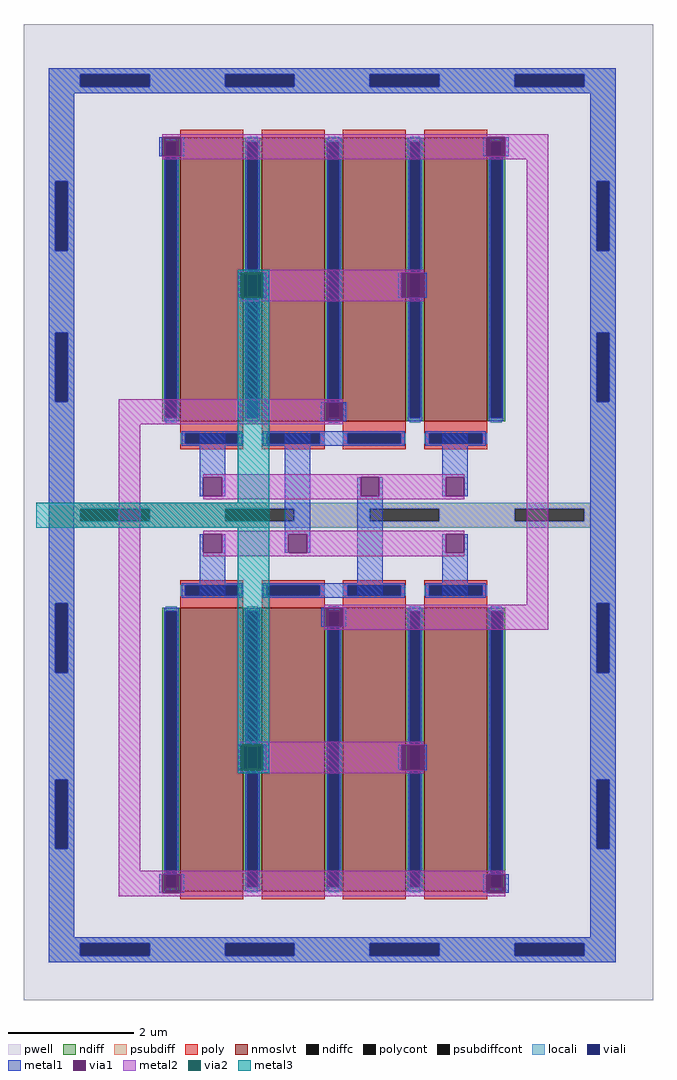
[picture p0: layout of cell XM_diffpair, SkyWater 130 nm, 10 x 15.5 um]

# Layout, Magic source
magic
tech sky130A
magscale 1 2
<< pwell >>
rect -400 -1400 1600 1700
<< psubdiff >>
rect -320 1540 1480 1560
rect -320 1500 -220 1540
rect 0 1500 240 1540
rect 460 1500 700 1540
rect 920 1500 1160 1540
rect 1380 1500 1480 1540
rect -320 1480 1480 1500
rect -320 1200 -240 1480
rect -320 980 -300 1200
rect -260 980 -240 1200
rect -320 720 -240 980
rect -320 500 -300 720
rect -260 500 -240 720
rect -320 180 -240 500
rect 1400 1200 1480 1480
rect 1400 980 1420 1200
rect 1460 980 1480 1200
rect 1400 720 1480 980
rect 1400 500 1420 720
rect 1460 500 1480 720
rect 1400 180 1480 500
rect -320 160 1480 180
rect -320 120 -220 160
rect 0 120 240 160
rect 460 120 700 160
rect 920 120 1160 160
rect 1380 120 1480 160
rect -320 100 1480 120
rect -320 -140 -240 100
rect -320 -360 -300 -140
rect -260 -360 -240 -140
rect -320 -700 -240 -360
rect -320 -920 -300 -700
rect -260 -920 -240 -700
rect -320 -1200 -240 -920
rect 1400 -140 1480 100
rect 1400 -360 1420 -140
rect 1460 -360 1480 -140
rect 1400 -700 1480 -360
rect 1400 -920 1420 -700
rect 1460 -920 1480 -700
rect 1400 -1200 1480 -920
rect -320 -1220 1480 -1200
rect -320 -1260 -220 -1220
rect 0 -1260 240 -1220
rect 460 -1260 700 -1220
rect 920 -1260 1160 -1220
rect 1380 -1260 1480 -1220
rect -320 -1280 1480 -1260
<< psubdiffcont >>
rect -220 1500 0 1540
rect 240 1500 460 1540
rect 700 1500 920 1540
rect 1160 1500 1380 1540
rect -300 980 -260 1200
rect -300 500 -260 720
rect 1420 980 1460 1200
rect 1420 500 1460 720
rect -220 120 0 160
rect 240 120 460 160
rect 700 120 920 160
rect 1160 120 1380 160
rect -300 -360 -260 -140
rect -300 -920 -260 -700
rect 1420 -360 1460 -140
rect 1420 -920 1460 -700
rect -220 -1260 0 -1220
rect 240 -1260 460 -1220
rect 700 -1260 920 -1220
rect 1160 -1260 1380 -1220
<< locali >>
rect -320 1540 1480 1560
rect -320 1500 -220 1540
rect 0 1500 240 1540
rect 460 1500 700 1540
rect 920 1500 1160 1540
rect 1380 1500 1480 1540
rect -320 1480 1480 1500
rect -320 1200 -240 1480
rect -320 980 -300 1200
rect -260 980 -240 1200
rect -320 720 -240 980
rect -320 500 -300 720
rect -260 500 -240 720
rect -320 180 -240 500
rect 1400 1200 1480 1480
rect 1400 980 1420 1200
rect 1460 980 1480 1200
rect 1400 720 1480 980
rect 1400 500 1420 720
rect 1460 500 1480 720
rect 1400 180 1480 500
rect -320 160 1480 180
rect -320 120 -220 160
rect 0 120 240 160
rect 460 120 700 160
rect 920 120 1160 160
rect 1380 120 1480 160
rect -320 100 1480 120
rect -320 -140 -240 100
rect -320 -360 -300 -140
rect -260 -360 -240 -140
rect -320 -700 -240 -360
rect -320 -920 -300 -700
rect -260 -920 -240 -700
rect -320 -1200 -240 -920
rect 1400 -140 1480 100
rect 1400 -360 1420 -140
rect 1460 -360 1480 -140
rect 1400 -700 1480 -360
rect 1400 -920 1420 -700
rect 1460 -920 1480 -700
rect 1400 -1200 1480 -920
rect -320 -1220 1480 -1200
rect -320 -1260 -220 -1220
rect 0 -1260 240 -1220
rect 460 -1260 700 -1220
rect 920 -1260 1160 -1220
rect 1380 -1260 1480 -1220
rect -320 -1280 1480 -1260
<< viali >>
rect -220 1500 0 1540
rect 240 1500 460 1540
rect 700 1500 920 1540
rect 1160 1500 1380 1540
rect -300 980 -260 1200
rect -300 500 -260 720
rect 1420 980 1460 1200
rect 1420 500 1460 720
rect -300 -360 -260 -140
rect -300 -920 -260 -700
rect 1420 -360 1460 -140
rect 1420 -920 1460 -700
rect -220 -1260 0 -1220
rect 240 -1260 460 -1220
rect 700 -1260 920 -1220
rect 1160 -1260 1380 -1220
<< metal1 >>
rect -320 1540 1480 1560
rect -320 1500 -220 1540
rect 0 1500 240 1540
rect 460 1500 700 1540
rect 920 1500 1160 1540
rect 1380 1500 1480 1540
rect -320 1480 1480 1500
rect -320 1200 -240 1480
rect 30 1280 40 1340
rect 100 1280 110 1340
rect 1060 1280 1070 1340
rect 1130 1280 1140 1340
rect -320 980 -300 1200
rect -260 980 -240 1200
rect -320 720 -240 980
rect 1400 1200 1480 1480
rect 1400 980 1420 1200
rect 1460 980 1480 1200
rect 280 830 290 910
rect 360 830 370 910
rect 790 830 800 910
rect 870 830 880 910
rect -320 500 -300 720
rect -260 500 -240 720
rect -320 -140 -240 500
rect 1400 720 1480 980
rect 1400 500 1420 720
rect 1460 500 1480 720
rect 544 438 554 498
rect 614 438 624 498
rect 160 260 240 400
rect 160 200 170 260
rect 230 200 240 260
rect 430 80 510 400
rect 551 360 619 406
rect 930 260 1010 400
rect 160 20 170 80
rect 230 20 240 80
rect 430 20 440 80
rect 500 20 510 80
rect 660 200 670 260
rect 730 200 740 260
rect 930 200 940 260
rect 1000 200 1010 260
rect 160 -120 240 20
rect 551 -122 619 -76
rect 660 -120 740 200
rect 930 20 940 80
rect 1000 20 1010 80
rect 930 -120 1010 20
rect -320 -360 -300 -140
rect -260 -360 -240 -140
rect 1400 -140 1480 500
rect 545 -214 555 -154
rect 615 -214 625 -154
rect -320 -700 -240 -360
rect 1400 -360 1420 -140
rect 1460 -360 1480 -140
rect 280 -670 290 -590
rect 360 -670 370 -590
rect 790 -670 800 -590
rect 870 -670 880 -590
rect -320 -920 -300 -700
rect -260 -920 -240 -700
rect -320 -1200 -240 -920
rect 1400 -700 1480 -360
rect 1400 -920 1420 -700
rect 1460 -920 1480 -700
rect 30 -1060 40 -1000
rect 100 -1060 110 -1000
rect 1060 -1060 1070 -1000
rect 1130 -1060 1140 -1000
rect 1400 -1200 1480 -920
rect -320 -1220 1480 -1200
rect -320 -1260 -220 -1220
rect 0 -1260 240 -1220
rect 460 -1260 700 -1220
rect 920 -1260 1160 -1220
rect 1380 -1260 1480 -1220
rect -320 -1280 1480 -1260
<< via1 >>
rect 40 1280 100 1340
rect 1070 1280 1130 1340
rect 290 830 360 910
rect 800 830 870 910
rect 554 438 614 498
rect 170 200 230 260
rect 170 20 230 80
rect 440 20 500 80
rect 670 200 730 260
rect 940 200 1000 260
rect 940 20 1000 80
rect 555 -214 615 -154
rect 290 -670 360 -590
rect 800 -670 870 -590
rect 40 -1060 100 -1000
rect 1070 -1060 1130 -1000
<< metal2 >>
rect 40 1340 1266 1350
rect 100 1280 1070 1340
rect 1130 1280 1266 1340
rect 40 1270 1266 1280
rect 290 910 870 920
rect 360 830 800 910
rect 290 820 870 830
rect -98 498 614 508
rect -98 438 554 498
rect -98 428 614 438
rect -98 -990 -30 428
rect 170 260 1000 270
rect 230 200 670 260
rect 730 200 940 260
rect 170 190 1000 200
rect 170 80 1000 90
rect 230 20 440 80
rect 500 20 940 80
rect 170 10 1000 20
rect 1198 -144 1266 1270
rect 554 -154 1266 -144
rect 554 -214 555 -154
rect 615 -214 1266 -154
rect 554 -224 1266 -214
rect 290 -590 870 -580
rect 360 -670 800 -590
rect 290 -680 870 -670
rect -98 -1000 1130 -990
rect -98 -1060 40 -1000
rect 100 -1060 1070 -1000
rect -98 -1070 1130 -1060
<< via2 >>
rect 290 830 360 910
rect 290 -670 360 -590
<< metal3 >>
rect 280 910 380 920
rect 280 830 290 910
rect 360 830 380 910
rect 280 180 380 830
rect -360 100 380 180
rect 280 -590 380 100
rect 280 -670 290 -590
rect 360 -670 380 -590
rect 280 -680 380 -670
use sky130_fd_pr__nfet_01v8_lvt_A5VCMN  sky130_fd_pr__nfet_01v8_lvt_A5VCMN_0
transform 1 0 585 0 1 -573
box -545 -507 545 507
use sky130_fd_pr__nfet_01v8_lvt_E96B6C  sky130_fd_pr__nfet_01v8_lvt_E96B6C_0
transform 1 0 585 0 1 857
box -545 -507 545 507
<< end >>

# cell sky130_fd_pr__nfet_01v8_lvt_A5VCMN: kit device sky130_fd_pr__nfet_01v8_lvt, w 4.5 l 1 m 1 nf 4 diffcov 100 polycov 100 guard 0 glc 1 grc 1 gtc 1 gbc 1 tbcov 100 rlcov 100 topc 1 botc 0 poverlap 0 doverlap 1 lmin 0.15 wmin 0.42 compatible {sky130_fd_pr__nfet_01v8 sky130_fd_pr__nfet_01v8_lvt sky130_fd_bs_flash__special_sonosfet_star sky130_fd_pr__nfet_g5v0d10v5 sky130_fd_pr__nfet_05v0_nvt sky130_fd_pr__nfet_03v3_nvt} full_metal 0 viasrc 100 viadrn 100 viagate 100 viagb 0 viagr 0 viagl 0 viagt 0

# cell sky130_fd_pr__nfet_01v8_lvt_E96B6C: kit device sky130_fd_pr__nfet_01v8_lvt, w 4.5 l 1 m 1 nf 4 diffcov 100 polycov 100 guard 0 glc 1 grc 1 gtc 1 gbc 1 tbcov 100 rlcov 100 topc 0 botc 1 poverlap 0 doverlap 1 lmin 0.15 wmin 0.42 compatible {sky130_fd_pr__nfet_01v8 sky130_fd_pr__nfet_01v8_lvt sky130_fd_bs_flash__special_sonosfet_star sky130_fd_pr__nfet_g5v0d10v5 sky130_fd_pr__nfet_05v0_nvt sky130_fd_pr__nfet_03v3_nvt} full_metal 0 viasrc 100 viadrn 100 viagate 100 viagb 0 viagr 0 viagl 0 viagt 0
